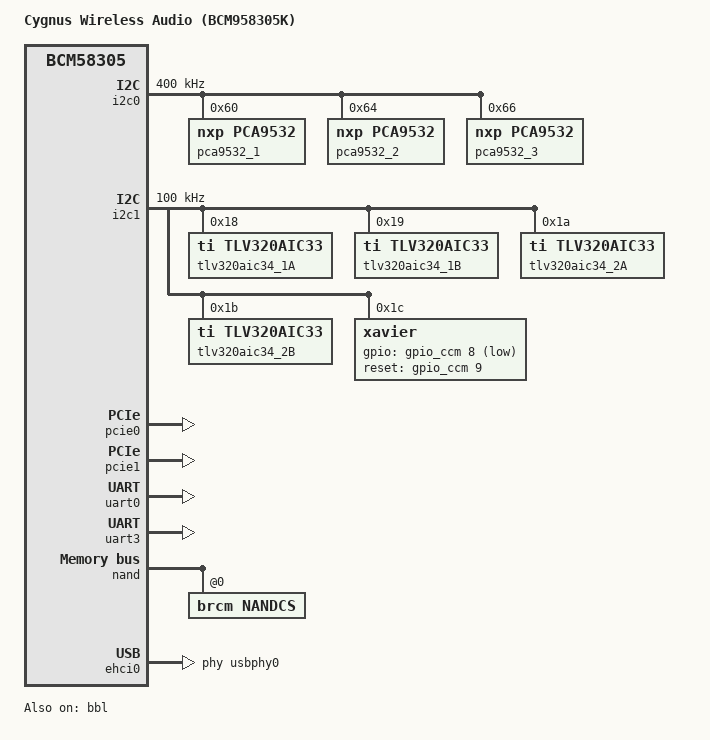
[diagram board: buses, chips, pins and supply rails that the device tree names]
/*
 *  BSD LICENSE
 *
 *  Copyright(c) 2015 Broadcom Corporation.  All rights reserved.
 *
 *  Redistribution and use in source and binary forms, with or without
 *  modification, are permitted provided that the following conditions
 *  are met:
 *
 *    * Redistributions of source code must retain the above copyright
 *      notice, this list of conditions and the following disclaimer.
 *    * Redistributions in binary form must reproduce the above copyright
 *      notice, this list of conditions and the following disclaimer in
 *      the documentation and/or other materials provided with the
 *      distribution.
 *    * Neither the name of Broadcom Corporation nor the names of its
 *      contributors may be used to endorse or promote products derived
 *      from this software without specific prior written permission.
 *
 *  THIS SOFTWARE IS PROVIDED BY THE COPYRIGHT HOLDERS AND CONTRIBUTORS
 *  "AS IS" AND ANY EXPRESS OR IMPLIED WARRANTIES, INCLUDING, BUT NOT
 *  LIMITED TO, THE IMPLIED WARRANTIES OF MERCHANTABILITY AND FITNESS FOR
 *  A PARTICULAR PURPOSE ARE DISCLAIMED. IN NO EVENT SHALL THE COPYRIGHT
 *  OWNER OR CONTRIBUTORS BE LIABLE FOR ANY DIRECT, INDIRECT, INCIDENTAL,
 *  SPECIAL, EXEMPLARY, OR CONSEQUENTIAL DAMAGES (INCLUDING, BUT NOT
 *  LIMITED TO, PROCUREMENT OF SUBSTITUTE GOODS OR SERVICES; LOSS OF USE,
 *  DATA, OR PROFITS; OR BUSINESS INTERRUPTION) HOWEVER CAUSED AND ON ANY
 *  THEORY OF LIABILITY, WHETHER IN CONTRACT, STRICT LIABILITY, OR TORT
 *  (INCLUDING NEGLIGENCE OR OTHERWISE) ARISING IN ANY WAY OUT OF THE USE
 * OF THIS SOFTWARE, EVEN IF ADVISED OF THE POSSIBILITY OF SUCH DAMAGE.
 */

/dts-v1/;

#include "bcm-cygnus.dtsi"
#include "bcm9hmidc.dtsi"

/ {
	model = "Cygnus Wireless Audio (BCM958305K)";
	compatible = "brcm,bcm58305", "brcm,cygnus";

	aliases {
		serial0 = &uart3;
		serial1 = &uart0;
	};

	chosen {
		stdout-path = "serial0:115200n8";
	};

	axi {
		pinctrl: pinctrl@0x0301d0c8 {
			pinctrl-names = "default";
			pinctrl-0 = <&i2s_0>;
		};
	};

	sound {
/*		compatible = "bcm,cygnussvk-machine"; */
		compatible = "bcm,cygnus-hoka-machine";
		bcm,cygnus-pcm = <&cygnus_audio>;

/* -----------------------------------------------
		bcm,cygnus-link0-ssp = "cygnus-ssp0";
		bcm,cygnus-link0-mode = "tdm";
		bcm,cygnus-link0-slave = <1>;
		bcm,cygnus-link0-frame-width = <128>;
		bcm,cygnus-link1-slave = <0>;
		bcm,cygnus-link1-ssp = "cygnus-ssp1";
		bcm,cygnus-link2-slave = <0>;
		bcm,cygnus-link2-ssp = "cygnus-ssp1";
		bcm,cygnus-link3-slave = <0>;
		bcm,cygnus-link3-ssp = "cygnus-ssp1";
 ---------------------------------------------- */
/* ----------------------------------------------- */


		bcm,cygnus-link0-codec = <&tlv320aic34_1A>;
		bcm,cygnus-link0-ssp = "cygnus-ssp0";
		bcm,cygnus-link0-mode = "tdm";
		bcm,cygnus-link0-slave = <1>;
		bcm,cygnus-link0-frame-width = <256>;

		bcm,cygnus-link1-codec = <&tlv320aic34_1B>;
		bcm,cygnus-link1-ssp = "cygnus-ssp0";
		bcm,cygnus-link1-mode = "tdm";
		bcm,cygnus-link1-slave = <1>;
		bcm,cygnus-link1-frame-width = <256>;

		bcm,cygnus-link2-codec = <&tlv320aic34_2A>;
		bcm,cygnus-link2-ssp = "cygnus-ssp0";
		bcm,cygnus-link2-mode = "tdm";
		bcm,cygnus-link2-slave = <1>;
		bcm,cygnus-link2-frame-width = <256>;

		bcm,cygnus-link3-codec = <&tlv320aic34_2B>;
		bcm,cygnus-link3-ssp = "cygnus-ssp0";
		bcm,cygnus-link3-mode = "tdm";
		bcm,cygnus-link3-slave = <1>;
		bcm,cygnus-link3-frame-width = <256>;
/* ---------------------------------------------- */

		status = "okay";

	};
};

&i2c0 {
	clock-frequency = <400000>;
	status = "okay";
		pca9532_1: pca9532@60 {
			compatible = "nxp,pca9532";
			nxp,typecodes = <0x00555555>;
			nxp,statecodes = <0x00000000>;
			reg = <0x60>;
		};
		pca9532_2: pca9532@64 {
			compatible = "nxp,pca9532";
			nxp,typecodes = <0x00555555>;
			nxp,statecodes = <0x00000000>;
			reg = <0x64>;
		};
		pca9532_3: pca9532@66 {
			compatible = "nxp,pca9532";
			nxp,typecodes = <0x00555555>;
			nxp,statecodes = <0x00000000>;
			reg = <0x66>;
		};
	};

&i2c1 {
	clock-frequency = <100000>;
	status = "okay";
	tlv320aic34_1A: tlv320aic33@18 {
		compatible = "ti,tlv320aic33";
		reg = <0x18>;
/* -- Set a minimal for now
		gpio-reset = <&gpio_asiu 126 0>;
			ai3x-micbias-vg = <2>;
-------- */			
		ai3x-gpio-func = <
				2 /* AIC3X_GPIO1_FUNC_CLOCK_MUX  */
				0 /* AIC3X_GPIO2_FUNC_DISABLED */
			>;
		status = "okay";

	};
	tlv320aic34_1B: tlv320aic33@19 {
		compatible = "ti,tlv320aic33";
		reg = <0x19>;
/* -- Set a minimal for now
		gpio-reset = <&gpio_asiu 126 0>;
			ai3x-micbias-vg = <2>;
-------- */			
		ai3x-gpio-func = <
				0 /* AIC3X_GPIO1_FUNC_DISABLED  */
				0 /* AIC3X_GPIO2_FUNC_DISABLED */
			>;
		status = "okay";

	};
	tlv320aic34_2A: tlv320aic33@1a {
		compatible = "ti,tlv320aic33";
		reg = <0x1a>;
/* -- Set a minimal for now
		gpio-reset = <&gpio_asiu 126 0>;
			ai3x-micbias-vg = <2>;
-------- */			
		ai3x-gpio-func = <
				0 /* AIC3X_GPIO1_FUNC_DISABLED  */
				0 /* AIC3X_GPIO2_FUNC_DISABLED */
			>;
		status = "okay";

	};
	tlv320aic34_2B: tlv320aic33@1b {
		compatible = "ti,tlv320aic33";
		reg = <0x1b>;
/* -- Set a minimal for now
		gpio-reset = <&gpio_asiu 126 0>;
			ai3x-micbias-vg = <2>;
-------- */			
		ai3x-gpio-func = <
				0 /* AIC3X_GPIO1_FUNC_DISABLED  */
				0 /* AIC3X_GPIO2_FUNC_DISABLED */
			>;
		status = "okay";

	};
	xavier: xavier@1c {
		reg = <0x1c>;
		compatible = "xavier";
		gpio = <&gpio_ccm 8 1>;
		reset-gpio = <&gpio_ccm 9 0>;
		btn0 = <0x100>;
		btn1 = <0x101>;
		btn_wheel = <0x150>;
		abs_wheel = <0x08>;
		direction = <0x34>;
		velocity = <0x28>;
		status = "okay";
	};
};

&pcie0 {
	status = "okay";
};

&pcie1 {
	status = "okay";
};

&uart0 {
	status = "okay";
};

&uart3 {
	status = "okay";
};

&nand {
	nandcs@1 {
		compatible = "brcm,nandcs";
		reg = <0>;
		nand-on-flash-bbt;

		#address-cells = <1>;
		#size-cells = <1>;

		nand-ecc-strength = <8>;
		nand-ecc-step-size = <512>;

		brcm,nand-oob-sector-size = <16>;
	};

};

&ehci0 {
		phys = <&usbphy0 0 1 &usbphy0 2 1>;
		phy-names = "usbp0", "usbp2";
		status = "okay";
};

&bbl {
	rtc-enable;
	tamper-enable;
	status = "okay";
};

